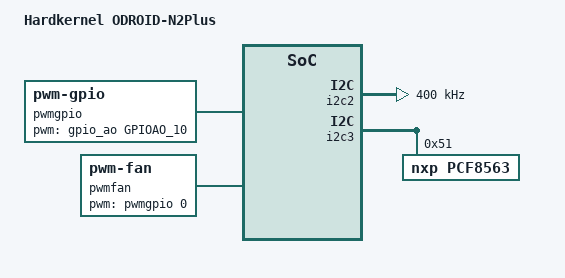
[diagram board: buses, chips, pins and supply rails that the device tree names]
#include "g12b_a311d_w400_linux.dts"
#include "coreelec_g12b_common.dtsi"

/ {
	model = "Hardkernel ODROID-N2Plus";
	coreelec-dt-id = "g12b_s922x_odroid_n2plus";
	amlogic-dt-id = "g12b_w400_b";

	/delete-node/ memory@00000000;

	reserved-memory {
		secmon_reserved:linux,secmon {
			size = <0x0 0x300000>;
			alloc-ranges = <0x0 0x05000000 0x0 0x300000>;
		};
	};

	bt-dev {
		status = "disabled";
	};

	wifi {
		status = "disabled";
	};

	/delete-node/ rtc;

	gpio_keypad {
		/delete-property/ key-gpios;
		/delete-property/ detect_mode;
		reg = <0x0 0xFF800000 0x0 0x400>;
	};

	cpu_opp_table0: cpu_opp_table0 {
		opp09 {
			opp-hz = /bits/ 64 <1908000000>;
			opp-microvolt = <1030000>;
		};
		opp10 {
			opp-hz = /bits/ 64 <2016000000>;
			opp-microvolt = <1040000>;
		};
	};

	cpu_opp_table1: cpu_opp_table1 {
		opp13 {
			opp-hz = /bits/ 64 <2304000000>;
			opp-microvolt = <1030000>;
		};
		opp14 {
			opp-hz = /bits/ 64 <2400000000>;
			opp-microvolt = <1040000>;
		};
	};

	cpus:cpus {
		cpu-map {
			cluster0:cluster0 {
				stock_freq = <1908>;
			};
			cluster1:cluster1 {
				stock_freq = <2208>;
			};
		};
	};

	gpioleds {
		sys_led {
			linux,default-trigger = "heartbeat";
		};
	};

	gpio-reset {
		compatible = "linux,gpio-reset";
		usb_hub_en {
			gpios = <&gpio GPIOH_5 GPIO_ACTIVE_HIGH>;
			asserted-state = <0>;
			duration-ms = <100>;
		};
		usb_hub {
			gpios = <&gpio GPIOH_4 GPIO_ACTIVE_HIGH>;
			asserted-state = <0>;
			duration-ms = <100>;
		};
	};

	unifykey {
		unifykey-num = <1>;
		unifykey-index-0 = <&keysn_0>;

		keysn_0: key_0 {
			key-name = "usid";
			key-device = "normal";
			key-permit = "read","write","del";
		};
	};

	pwmgpio: pwmgpio {
		compatible = "pwm-gpio";
		#pwm-cells = <3>;
		pwm-gpios = <&gpio_ao GPIOAO_10 GPIO_ACTIVE_HIGH>;
		status = "okay";
	};

	pwmfan: pwm-fan {
		compatible = "pwm-fan";
		pwms = <&pwmgpio 0 40000 1>;
		cooling-min-state = <0>;
		cooling-max-state = <3>;
		#cooling-cells = <2>;
		cooling-levels = <0 120 170 220>;
	};

	onewire {
		compatible = "w1-gpio";
		pinctrl-names = "default";
		gpios = <&gpio GPIOX_7 GPIO_ACTIVE_HIGH>;
		status = "disabled";
	};
};

&i2c0 {
	/delete-property/ pinctrl-names;
	/delete-property/ pinctrl-0;
	/delete-property/ clock-frequency;
};

&i2c2 {
	status = "okay";
	pinctrl-0 = <&i2c2_master_pins1>;
	clock-frequency = <400000>;
};

&i2c3 {
	pcf8563: rtc@51 {
		compatible = "nxp,pcf8563";
		reg = <0x51>;
	};
};

&audiobus {
	aml_tdmb: tdmb {
		/delete-property/ pinctrl-names;
		/delete-property/ pinctrl-0;
	};

	aml_spdif: spdif {
		pinctrl-names = "spdif_pins";
		/delete-property/ pinctrl-1;
	};
};

&pinctrl_periphs {
	i2c3_master_pins2: i2c3_pins2 {
		mux {
			drive-strength = <3>;
		};
	};

	spdifout: spdifout {
		mux {/* GPIOA_13 */
			groups = "spdif_out_a13";
			function = "spdif_out";
		};
	};
};

&pinctrl_aobus {
	/delete-node/ spdifout;
};

&sd_emmc_c {
	mmc-ddr-1_8v;
	mmc-hs200-1_8v;
	cap-sd-highspeed;
	cap-mmc-hw-reset;
};

&sd_emmc_a {
	status = "disabled";
};

&uart_A {
	status = "disabled";
};

&amhdmitx {
	vend_data {
		vendor_name = "HK";
		product_desc = "ODROID-N2Plus";
	};
};
